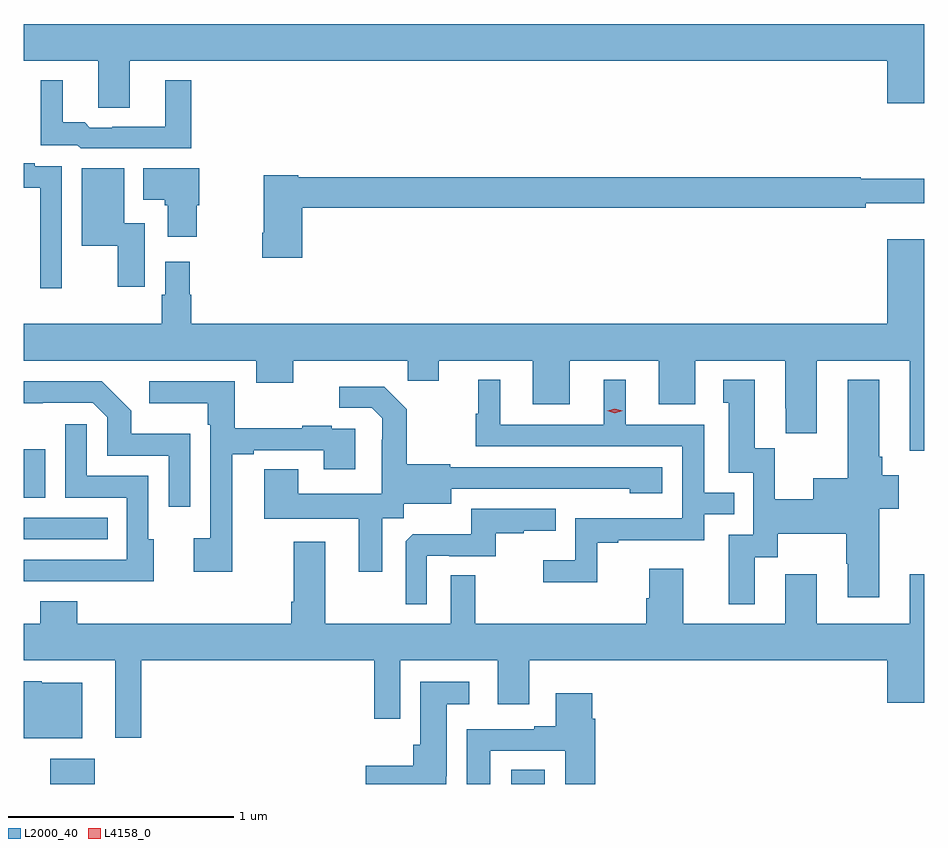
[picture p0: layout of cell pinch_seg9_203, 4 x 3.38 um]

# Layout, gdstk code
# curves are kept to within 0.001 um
import gdstk
lib = gdstk.Library(unit=1e-6, precision=1e-09)
def R(c, l, rs):  # rectangles x0, y0, x1, y1
    for r in rs: c.add(gdstk.rectangle(r[:2], r[2:], *l))
def P(c, l, *ps):  # polygons
    for p in ps: c.add(gdstk.Polygon(p, *l))
L2000_40 = (2000, 40)
L4158_0 = (4158, 0)

pinch_seg9_203 = lib.new_cell('pinch_seg9_203')
R(pinch_seg9_203, L2000_40, [(544.905,1221.179,545.101,1221.292), (546.953,1221.179,547.102,1221.242), (544.787,1222.266,545.159,1222.362), (544.787,1222.451,544.882,1222.666)])
P(pinch_seg9_203, L2000_40, [(545.257,1224.392),(548.624,1224.392),(548.624,1224.204),(548.787,1224.204),(548.787,1224.556),(544.787,1224.556),(544.787,1224.392),(545.117,1224.392),(545.117,1224.184),(545.257,1224.184)],
  [(545.531,1224.307),(545.414,1224.307),(545.414,1224.099),(545.179,1224.099),(545.179,1224.096),(545.079,1224.096),(545.057,1224.119),(544.96,1224.119),(544.96,1224.307),(544.862,1224.307),(544.862,1224.018),(545.025,1224.018),(545.04,1224.003),(545.531,1224.003)],
  [(544.956,1223.925),(544.835,1223.925),(544.835,1223.938),(544.787,1223.938),(544.787,1223.829),(544.86,1223.829),(544.86,1223.382),(544.956,1223.382)],
  [(545.556,1223.751),(545.566,1223.751),(545.566,1223.914),(545.318,1223.914),(545.318,1223.774),(545.412,1223.774),(545.412,1223.751),(545.426,1223.751),(545.426,1223.61),(545.556,1223.61)],
  [(545.325,1223.671),(545.233,1223.671),(545.233,1223.914),(545.045,1223.914),(545.045,1223.57),(545.204,1223.57),(545.204,1223.388),(545.325,1223.388)],
  [(546.023,1223.74),(548.528,1223.74),(548.528,1223.759),(548.787,1223.759),(548.787,1223.869),(548.506,1223.869),(548.506,1223.876),(546.006,1223.876),(546.006,1223.884),(545.852,1223.884),(545.852,1223.629),(545.845,1223.629),(545.845,1223.517),(546.023,1223.517)],
  [(545.415,1223.5),(545.415,1223.354),(545.399,1223.354),(545.399,1223.224),(544.787,1223.224),(544.787,1223.06),(545.819,1223.06),(545.819,1222.961),(545.983,1222.961),(545.983,1223.06),(546.493,1223.06),(546.493,1222.97),(546.631,1222.97),(546.631,1223.06),(547.049,1223.06),(547.049,1222.866),(547.213,1222.866),(547.213,1223.06),(547.607,1223.06),(547.607,1222.866),(547.771,1222.866),(547.771,1223.06),(548.171,1223.06),(548.171,1222.849),(548.172,1222.849),(548.172,1222.737),(548.311,1222.737),(548.311,1223.06),(548.723,1223.06),(548.723,1222.659),(548.787,1222.659),(548.787,1223.599),(548.624,1223.599),(548.624,1223.224),(545.531,1223.224),(545.531,1223.354),(545.524,1223.354),(545.524,1223.5)],
  [(547.335,1222.251),(547.429,1222.251),(547.429,1222.263),(547.809,1222.263),(547.809,1222.377),(547.943,1222.377),(547.943,1222.473),(547.809,1222.473),(547.809,1222.776),(547.462,1222.776),(547.462,1222.975),(547.364,1222.975),(547.364,1222.776),(546.904,1222.776),(546.904,1222.975),(546.806,1222.975),(546.806,1222.824),(546.795,1222.824),(546.795,1222.68),(547.713,1222.68),(547.713,1222.359),(547.236,1222.359),(547.236,1222.174),(547.095,1222.174),(547.095,1222.076),(547.335,1222.076)],
  [(548.035,1222.186),(548.137,1222.186),(548.137,1222.292),(548.44,1222.292),(548.44,1222.158),(548.447,1222.158),(548.447,1222.008),(548.587,1222.008),(548.587,1222.403),(548.674,1222.403),(548.674,1222.55),(548.6,1222.55),(548.6,1222.633),(548.587,1222.633),(548.587,1222.975),(548.447,1222.975),(548.447,1222.537),(548.294,1222.537),(548.294,1222.444),(548.124,1222.444),(548.124,1222.671),(548.035,1222.671),(548.035,1222.975),(547.895,1222.975),(547.895,1222.872),(547.919,1222.872),(547.919,1222.563),(548.028,1222.563),(548.028,1222.287),(547.919,1222.287),(547.919,1221.978),(548.035,1221.978)],
  [(545.526,1222.735),(545.265,1222.735),(545.265,1222.838),(545.134,1222.968),(544.787,1222.968),(544.787,1222.871),(545.094,1222.872),(545.157,1222.809),(545.157,1222.638),(545.43,1222.638),(545.43,1222.41),(545.526,1222.41)],
  [(545.713,1222.644),(545.809,1222.644),(545.809,1222.662),(546.119,1222.662),(546.119,1222.578),(546.259,1222.578),(546.259,1222.758),(546.155,1222.758),(546.155,1222.771),(546.023,1222.771),(546.023,1222.76),(545.725,1222.76),(545.725,1222.968),(545.343,1222.968),(545.343,1222.871),(545.604,1222.871),(545.604,1222.775),(545.616,1222.775),(545.616,1222.27),(545.541,1222.27),(545.541,1222.122),(545.713,1222.122)],
  [(546.379,1222.36),(546.474,1222.36),(546.474,1222.424),(546.685,1222.424),(546.685,1222.491),(547.479,1222.49),(547.479,1222.472),(547.624,1222.472),(547.624,1222.587),(546.681,1222.587),(546.681,1222.6),(546.489,1222.6),(546.489,1222.845),(546.389,1222.945),(546.189,1222.945),(546.189,1222.851),(546.333,1222.851),(546.38,1222.804),(546.38,1222.709),(546.378,1222.709),(546.378,1222.468),(546.007,1222.468),(546.007,1222.577),(545.855,1222.577),(545.855,1222.358),(546.275,1222.358),(546.275,1222.122),(546.379,1222.122)],
  [(545.365,1222.266),(545.34,1222.266),(545.34,1222.548),(545.067,1222.548),(545.067,1222.777),(544.971,1222.777),(544.971,1222.452),(545.244,1222.452),(545.244,1222.176),(544.787,1222.176),(544.787,1222.08),(545.147,1222.08),(545.147,1222.079),(545.365,1222.079)],
  [(546.576,1222.194),(546.676,1222.194),(546.676,1222.191),(546.884,1222.191),(546.884,1222.293),(547.007,1222.293),(547.007,1222.304),(547.151,1222.304),(547.151,1222.401),(546.774,1222.401),(546.774,1222.289),(546.515,1222.289),(546.483,1222.257),(546.483,1221.977),(546.576,1221.977)],
  [(548.787,1222.111),(548.723,1222.111),(548.723,1221.892),(548.311,1221.892),(548.311,1222.111),(548.171,1222.111),(548.171,1221.892),(547.717,1221.892),(547.717,1222.135),(547.565,1222.135),(547.565,1222.005),(547.553,1222.005),(547.553,1221.892),(546.793,1221.892),(546.793,1222.106),(546.684,1222.106),(546.684,1221.892),(546.127,1221.892),(546.127,1222.255),(545.987,1222.255),(545.987,1221.988),(545.975,1221.988),(545.975,1221.892),(545.023,1221.892),(545.023,1221.991),(544.859,1221.991),(544.859,1221.892),(544.787,1221.892),(544.787,1221.728),(545.192,1221.728),(545.192,1221.384),(545.309,1221.384),(545.309,1221.728),(546.343,1221.728),(546.343,1221.468),(546.459,1221.468),(546.459,1221.728),(546.893,1221.728),(546.893,1221.534),(547.033,1221.534),(547.033,1221.728),(548.624,1221.728),(548.624,1221.54),(548.787,1221.54)],
  [(545.047,1221.628),(544.866,1221.628),(544.866,1221.636),(544.787,1221.636),(544.787,1221.383),(545.047,1221.383)],
  [(546.663,1221.214),(546.667,1221.214),(546.667,1221.533),(546.766,1221.533),(546.766,1221.634),(546.548,1221.634),(546.548,1221.354),(546.518,1221.354),(546.518,1221.259),(546.306,1221.259),(546.306,1221.179),(546.663,1221.179)],
  [(546.859,1221.327),(547.193,1221.327),(547.193,1221.179),(547.325,1221.179),(547.325,1221.47),(547.312,1221.47),(547.312,1221.583),(547.151,1221.583),(547.151,1221.436),(547.055,1221.436),(547.055,1221.423),(546.755,1221.423),(546.755,1221.179),(546.859,1221.179)])
P(pinch_seg9_203, L4158_0, [(547.413,1222.827),(547.378,1222.837),(547.377,1222.837),(547.378,1222.837),(547.413,1222.847),(547.448,1222.837),(547.449,1222.837),(547.448,1222.837)])

lib.write_gds('pinch_seg9_203.gds')
